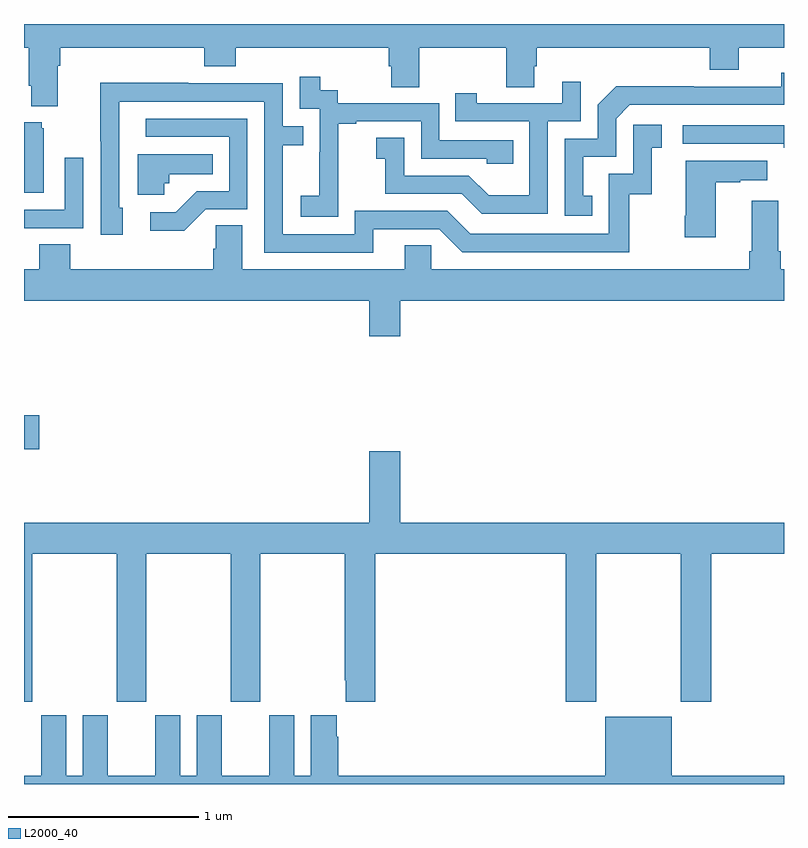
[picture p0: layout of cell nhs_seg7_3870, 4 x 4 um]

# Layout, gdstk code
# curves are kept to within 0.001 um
import gdstk
lib = gdstk.Library(unit=1e-6, precision=1e-09)
def R(c, l, rs):  # rectangles x0, y0, x1, y1
    for r in rs: c.add(gdstk.rectangle(r[:2], r[2:], *l))
def P(c, l, *ps):  # polygons
    for p in ps: c.add(gdstk.Polygon(p, *l))
L2000_40 = (2000, 40)

nhs_seg7_3870 = lib.new_cell('nhs_seg7_3870')
R(nhs_seg7_3870, L2000_40, [(355,1071.763,355.081,1071.941)])
P(nhs_seg7_3870, L2000_40, [(355.177,1073.78),(355.19,1073.78),(355.19,1073.876),(355.949,1073.876),(355.949,1073.777),(356.114,1073.777),(356.114,1073.876),(356.921,1073.876),(356.921,1073.778),(356.933,1073.778),(356.933,1073.668),(357.081,1073.668),(357.081,1073.876),(357.538,1073.876),(357.538,1073.668),(357.685,1073.668),(357.685,1073.778),(357.698,1073.778),(357.698,1073.876),(358.61,1073.876),(358.61,1073.759),(358.762,1073.759),(358.762,1073.876),(359,1073.876),(359,1074),(355,1074),(355,1073.876),(355.025,1073.876),(355.025,1073.674),(355.037,1073.674),(355.037,1073.567),(355.177,1073.567)],
  [(357.992,1073.097),(357.943,1073.097),(357.943,1073.301),(358.116,1073.301),(358.116,1073.502),(358.188,1073.574),(359,1073.574),(359,1073.743),(358.986,1073.743),(358.986,1073.67),(358.526,1073.67),(358.526,1073.672),(358.118,1073.672),(358.02,1073.574),(358.02,1073.397),(357.846,1073.397),(357.846,1072.992),(357.992,1072.992)],
  [(356.655,1073.191),(356.654,1073.191),(356.654,1073.475),(356.749,1073.475),(356.749,1073.487),(357.09,1073.487),(357.09,1073.292),(357.435,1073.292),(357.435,1073.265),(357.575,1073.265),(357.575,1073.388),(357.186,1073.388),(357.186,1073.583),(356.652,1073.583),(356.652,1073.652),(356.56,1073.652),(356.56,1073.722),(356.451,1073.722),(356.451,1073.553),(356.556,1073.553),(356.556,1073.324),(356.555,1073.324),(356.555,1073.095),(356.457,1073.095),(356.457,1072.985),(356.655,1072.985)],
  [(357.756,1073.487),(357.93,1073.487),(357.93,1073.695),(357.833,1073.695),(357.833,1073.583),(357.382,1073.583),(357.382,1073.635),(357.271,1073.635),(357.271,1073.487),(357.66,1073.487),(357.66,1073.098),(357.446,1073.098),(357.342,1073.202),(357,1073.202),(357,1073.401),(356.853,1073.401),(356.853,1073.291),(356.902,1073.291),(356.902,1073.106),(357.305,1073.106),(357.41,1073.001),(357.756,1073.001)],
  [(356.839,1072.92),(357.186,1072.92),(357.306,1072.8),(358.186,1072.8),(358.186,1073.103),(358.304,1073.103),(358.304,1073.349),(358.357,1073.349),(358.357,1073.47),(358.206,1073.47),(358.206,1073.211),(358.077,1073.211),(358.077,1072.896),(357.348,1072.896),(357.228,1073.016),(356.742,1073.016),(356.742,1072.893),(356.361,1072.893),(356.361,1073.362),(356.471,1073.362),(356.471,1073.463),(356.361,1073.463),(356.361,1073.688),(355.865,1073.688),(355.865,1073.69),(355.402,1073.69),(355.402,1073.383),(355.404,1073.383),(355.404,1072.89),(355.519,1072.89),(355.519,1073.034),(355.5,1073.034),(355.501,1073.592),(356.265,1073.592),(356.265,1072.797),(356.839,1072.797)],
  [(355.956,1073.025),(356.175,1073.025),(356.175,1073.502),(355.641,1073.502),(355.641,1073.406),(356.079,1073.406),(356.079,1073.121),(355.91,1073.121),(355.799,1073.01),(355.665,1073.01),(355.665,1072.913),(355.843,1072.913)],
  [(355.105,1073.451),(355.094,1073.451),(355.094,1073.482),(355,1073.482),(355,1073.111),(355.105,1073.111)],
  [(359,1073.466),(358.467,1073.466),(358.467,1073.37),(358.999,1073.37),(358.999,1073.35),(359,1073.35)],
  [(355.737,1073.163),(355.764,1073.163),(355.764,1073.21),(355.994,1073.21),(355.994,1073.314),(355.598,1073.314),(355.598,1073.102),(355.737,1073.102)],
  [(355.311,1073.296),(355.215,1073.296),(355.215,1073.022),(355,1073.022),(355,1072.926),(355.311,1072.926)],
  [(358.642,1073.167),(358.769,1073.167),(358.769,1073.177),(358.912,1073.177),(358.912,1073.281),(358.484,1073.281),(358.484,1072.99),(358.477,1072.99),(358.477,1072.878),(358.642,1072.878)],
  [(356.98,1072.544),(359,1072.544),(359,1072.708),(358.982,1072.708),(358.982,1072.804),(358.969,1072.804),(358.969,1073.071),(358.829,1073.071),(358.829,1072.804),(358.817,1072.804),(358.817,1072.708),(357.144,1072.708),(357.144,1072.835),(357.005,1072.835),(357.005,1072.708),(356.149,1072.708),(356.149,1072.94),(356.01,1072.94),(356.01,1072.817),(355.997,1072.817),(355.997,1072.708),(355.244,1072.708),(355.244,1072.841),(355.079,1072.841),(355.079,1072.708),(355,1072.708),(355,1072.544),(356.816,1072.544),(356.816,1072.356),(356.98,1072.356)],
  [(355.044,1071.212),(355.489,1071.212),(355.489,1070.433),(355.644,1070.433),(355.644,1071.212),(356.089,1071.212),(356.089,1070.433),(356.244,1070.433),(356.244,1071.212),(356.689,1071.212),(356.689,1070.545),(356.693,1070.545),(356.693,1070.433),(356.849,1070.433),(356.849,1071.212),(357.851,1071.212),(357.851,1070.433),(358.011,1070.433),(358.011,1071.212),(358.456,1071.212),(358.456,1070.433),(358.616,1070.433),(358.616,1071.212),(359,1071.212),(359,1071.376),(356.98,1071.376),(356.98,1071.751),(356.816,1071.751),(356.816,1071.376),(355,1071.376),(355,1070.433),(355.044,1070.433)],
  [(356.51,1070.362),(356.51,1070.044),(356.422,1070.044),(356.422,1070.362),(356.291,1070.362),(356.291,1070.044),(356.041,1070.044),(356.041,1070.362),(355.91,1070.362),(355.91,1070.044),(355.822,1070.044),(355.822,1070.362),(355.691,1070.362),(355.691,1070.044),(355.441,1070.044),(355.441,1070.362),(355.31,1070.362),(355.31,1070.044),(355.222,1070.044),(355.222,1070.362),(355.091,1070.362),(355.091,1070.044),(355,1070.044),(355,1070),(359,1070),(359,1070.044),(358.408,1070.044),(358.408,1070.353),(358.058,1070.353),(358.058,1070.044),(356.654,1070.044),(356.654,1070.249),(356.647,1070.249),(356.647,1070.362)])

lib.write_gds('nhs_seg7_3870.gds')
